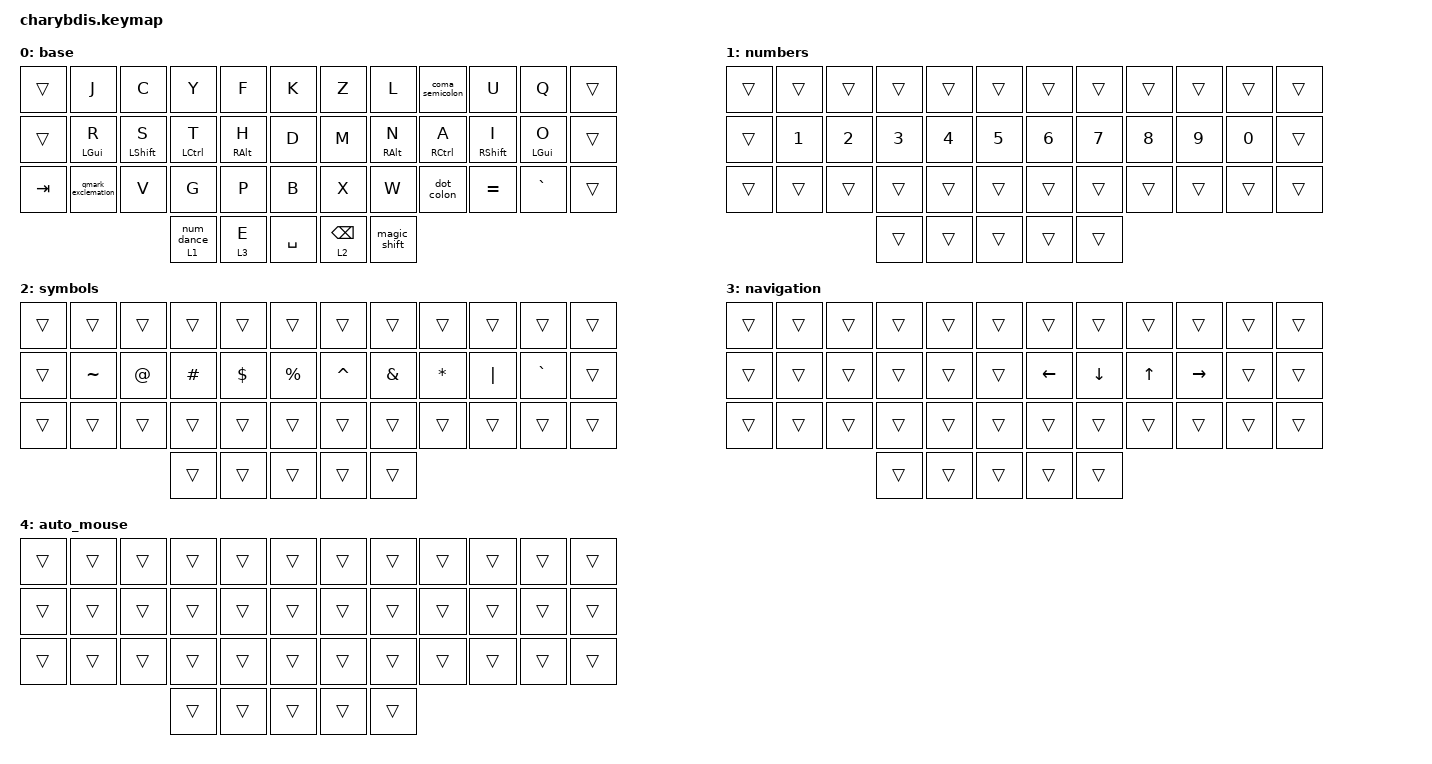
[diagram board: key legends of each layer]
#include <dt-bindings/zmk/mouse.h>
#include <input/processors.dtsi>
#include <dt-bindings/zmk/input_transform.h>
#include <behaviors/num_word.dtsi>
#include <behaviors.dtsi>
#include <dt-bindings/zmk/keys.h>
#include <dt-bindings/zmk/pointing.h>

#define U_TAPPING_TERM 200

/ {
    trackball_listener {
        compatible = "zmk,input-listener";
        device = <&trackball>;
        input-processors = <&zip_xy_scaler 1 2>, <&zip_temp_layer 4 400>;

        // Switch to auto-mouse temp layer, decrease sensitivity

        scroll {
            layers = <1>; // NUMBERS
            input-processors =
                <&zip_xy_to_scroll_mapper>,
                <&zip_scroll_scaler 1 2>,
                <&zip_hwheel_scaler 1 8>,
                <&zip_scroll_transform (INPUT_TRANSFORM_Y_INVERT)>;
        };
    };

    combos {
        compatible = "zmk,combos";

        greater_than {
            bindings = <&kp GREATER_THAN>;
            key-positions = <16 20>;
            timeout-ms = <100>;
            require-prior-idle-ms = <150>;
            layers = <0>;
        };

        less_than {
            bindings = <&kp LESS_THAN>;
            key-positions = <16 19>;
            timeout-ms = <100>;
            require-prior-idle-ms = <150>;
            layers = <0>;
        };

        right_parenthesis {
            bindings = <&kp RIGHT_PARENTHESIS>;
            key-positions = <15 20>;
            timeout-ms = <100>;
            require-prior-idle-ms = <150>;
            layers = <0>;
        };

        left_parenthesis {
            bindings = <&kp LEFT_PARENTHESIS>;
            key-positions = <19 15>;
            timeout-ms = <100>;
            require-prior-idle-ms = <150>;
            layers = <0>;
        };

        right_brace {
            bindings = <&kp RIGHT_BRACE>;
            key-positions = <20 13>;
            timeout-ms = <100>;
            require-prior-idle-ms = <150>;
            layers = <0>;
        };

        left_brace {
            bindings = <&kp LEFT_BRACE>;
            key-positions = <13 19>;
            timeout-ms = <100>;
            require-prior-idle-ms = <150>;
            layers = <0>;
        };

        right_bracket {
            bindings = <&kp RIGHT_BRACKET>;
            key-positions = <14 20>;
            timeout-ms = <100>;
            require-prior-idle-ms = <150>;
            layers = <0>;
        };

        left_bracket {
            bindings = <&kp LEFT_BRACKET>;
            key-positions = <19 14>;
            timeout-ms = <100>;
            require-prior-idle-ms = <150>;
            layers = <0>;
        };

        left_click {
            bindings = <&mkp LCLK>;
            key-positions = <4 16>;
            timeout-ms = <100>;
            require-prior-idle-ms = <150>;
            layers = <0 4>;
        };

        right_click {
            bindings = <&mkp RCLK>;
            key-positions = <16 28>;
            timeout-ms = <100>;
            require-prior-idle-ms = <150>;
            layers = <0 4>;
        };

        double_quotes {
            bindings = <&kp DOUBLE_QUOTES>;
            key-positions = <3 15>;
            timeout-ms = <100>;
            require-prior-idle-ms = <150>;
            layers = <0>;
        };

        single_quote {
            bindings = <&kp SINGLE_QUOTE>;
            key-positions = <15 27>;
            timeout-ms = <100>;
            require-prior-idle-ms = <150>;
            layers = <0>;
        };

        slash {
            bindings = <&kp SLASH>;
            key-positions = <2 14>;
            timeout-ms = <100>;
            require-prior-idle-ms = <150>;
            layers = <0>;
        };

        backslash {
            bindings = <&kp BACKSLASH>;
            key-positions = <14 26>;
            timeout-ms = <100>;
            require-prior-idle-ms = <150>;
            layers = <0>;
        };

        minus {
            bindings = <&kp MINUS>;
            key-positions = <13 25>;
            timeout-ms = <100>;
            require-prior-idle-ms = <150>;
            layers = <0>;
        };

        underscore {
            bindings = <&kp UNDERSCORE>;
            key-positions = <1 13>;
            timeout-ms = <100>;
            require-prior-idle-ms = <150>;
            layers = <0>;
        };

        enter {
            bindings = <&kp ENTER>;
            key-positions = <16 15>;
            timeout-ms = <100>;
            require-prior-idle-ms = <150>;
            layers = <0>;
            slow-release;
        };

        escape {
            bindings = <&kp ESCAPE>;
            key-positions = <19 20>;
            timeout-ms = <100>;
            require-prior-idle-ms = <150>;
            slow-release;
        };

        tab {
            bindings = <&kp TAB>;
            key-positions = <15 14>;
            timeout-ms = <100>;
            require-prior-idle-ms = <150>;
            slow-release;
        };

        colon {
            bindings = <&kp COLON>;
            key-positions = <20 21>;
            timeout-ms = <100>;
            require-prior-idle-ms = <150>;
            slow-release;
        };
    };

    behaviors {
        hml: hml {
            compatible = "zmk,behavior-hold-tap";
            label = "HML";
            bindings = <&kp>, <&kp>;

            #binding-cells = <2>;
            tapping-term-ms = <280>;
            quick-tap-ms = <175>;
            require-prior-idle-ms = <150>;
            flavor = "balanced";
            hold-trigger-on-release;
            hold-trigger-key-positions = <39 40 30 31 19 18 6 7 8 9 10 11 20 21 22 23 32 33 34 35>;
        };

        hmr: hmr {
            compatible = "zmk,behavior-hold-tap";
            label = "HMR";
            bindings = <&kp>, <&kp>;

            #binding-cells = <2>;
            tapping-term-ms = <280>;
            quick-tap-ms = <175>;
            require-prior-idle-ms = <150>;
            flavor = "balanced";
            hold-trigger-on-release;
            hold-trigger-key-positions = <38 37 36 29 28 27 26 25 24 12 13 14 15 17 16 5 4 3 2 1 0>;
        };

        coma_semicolon: coma_semicolon {
            compatible = "zmk,behavior-mod-morph";
            label = "COMA_SEMICOLON";
            bindings = <&kp COMMA>, <&kp SEMICOLON>;

            #binding-cells = <0>;
            mods = <(MOD_RSFT|MOD_LSFT)>;
        };

        dot_colon: dot_colon {
            compatible = "zmk,behavior-mod-morph";
            label = "DOT_COLON";
            bindings = <&kp DOT>, <&kp COLON>;

            #binding-cells = <0>;
            mods = <(MOD_RSFT|MOD_LSFT)>;
        };

        qmark_exclemation: qmark_exclemation {
            compatible = "zmk,behavior-mod-morph";
            label = "QMARK_EXCLEMATION";
            bindings = <&kp QUESTION>, <&kp EXCLAMATION>;

            #binding-cells = <0>;
            mods = <(MOD_LSFT|MOD_RSFT)>;
        };

        magic_shift: magic_shift {
            compatible = "zmk,behavior-mod-morph";
            label = "MAGIC_SHIFT";
            bindings = <&sk LSHFT>, <&caps_word>;

            #binding-cells = <0>;
            mods = <(MOD_LSFT)>;
        };

        num_dance: num_dance {
            compatible = "zmk,behavior-tap-dance";
            label = "NUM_DANCE";
            #binding-cells = <0>;
            bindings = <&num_word 1>, <&sl 1>;
        };

        smart_num: smart_num {
            compatible = "zmk,behavior-hold-tap";
            label = "SMART_NUM";
            bindings = <&mo>, <&num_dance>;

            #binding-cells = <2>;
            tapping-term-ms = <200>;
            quick-tap-ms = <175>;
        };
    };

    keymap {
        compatible = "zmk,keymap";

        base {
            bindings = <
&trans   &kp J               &kp C         &kp Y           &kp F             &kp K        &kp Z            &kp L             &coma_semicolon  &kp U               &kp Q        &trans
&trans   &hml LGUI R         &hml LSHFT S  &hml LCTRL T    &hml RIGHT_ALT H  &kp D        &kp M            &hmr RIGHT_ALT N  &hmr RCTRL A     &hmr RIGHT_SHIFT I  &hmr LGUI O  &trans
&kp TAB  &qmark_exclemation  &kp V         &kp G           &kp P             &kp B        &kp X            &kp W             &dot_colon       &kp EQUAL           &kp GRAVE    &trans
                                           &smart_num 1 0  &lt 3 E           &kp SPACE    &lt 2 BACKSPACE  &magic_shift
            >;
        };

        numbers {
            bindings = <
&trans  &trans        &trans        &trans        &trans        &trans          &trans        &trans        &trans        &trans        &trans        &trans
&trans  &kp NUMBER_1  &kp NUMBER_2  &kp NUMBER_3  &kp NUMBER_4  &kp NUMBER_5    &kp NUMBER_6  &kp NUMBER_7  &kp NUMBER_8  &kp NUMBER_9  &kp NUMBER_0  &trans
&trans  &trans        &trans        &trans        &trans        &trans          &trans        &trans        &trans        &trans        &trans        &trans
                                    &trans        &trans        &trans          &trans        &trans
            >;
        };

        symbols {
            bindings = <
&trans  &trans     &trans       &trans    &trans      &trans         &trans     &trans         &trans        &trans    &trans     &trans
&trans  &kp TILDE  &kp AT_SIGN  &kp HASH  &kp DOLLAR  &kp PERCENT    &kp CARET  &kp AMPERSAND  &kp ASTERISK  &kp PIPE  &kp GRAVE  &trans
&trans  &trans     &trans       &trans    &trans      &trans         &trans     &trans         &trans        &trans    &trans     &trans
                                &trans    &trans      &trans         &trans     &trans
            >;
        };

        navigation {
            bindings = <
&trans  &trans  &trans  &trans  &trans  &trans    &trans          &trans          &trans        &trans           &trans  &trans
&trans  &trans  &trans  &trans  &trans  &trans    &kp LEFT_ARROW  &kp DOWN_ARROW  &kp UP_ARROW  &kp RIGHT_ARROW  &trans  &trans
&trans  &trans  &trans  &trans  &trans  &trans    &trans          &trans          &trans        &trans           &trans  &trans
                        &trans  &trans  &trans    &trans          &trans
            >;
        };

        auto_mouse {
            bindings = <
&trans  &trans  &trans  &trans  &trans  &trans    &trans  &trans  &trans  &trans  &trans  &trans
&trans  &trans  &trans  &trans  &trans  &trans    &trans  &trans  &trans  &trans  &trans  &trans
&trans  &trans  &trans  &trans  &trans  &trans    &trans  &trans  &trans  &trans  &trans  &trans
                        &trans  &trans  &trans    &trans  &trans
            >;
        };
    };
};
